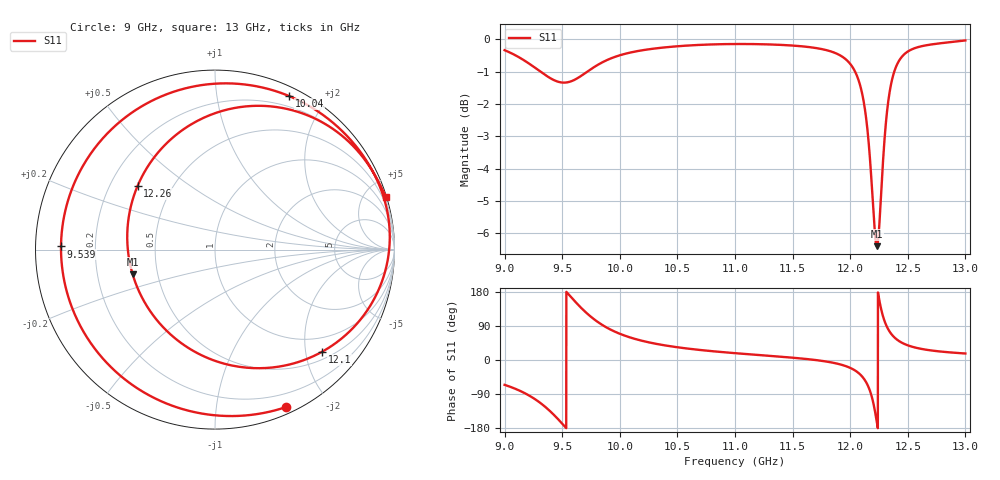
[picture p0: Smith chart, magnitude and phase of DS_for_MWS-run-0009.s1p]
! TOUCHSTONE file generated by CST DESIGN STUDIO
! Date and time: Tue Feb  4 16:20:47 2025
! Project name: C:\Work\MatlabApps\UnitCellOptimizationMatlab\CST\unitcell.cst
! Tree item: Tasks\Sweep1\SPara1\S-Parameters
! Header version: 2024
! Port assignment regex: !\s*Touchstone port\s*([0-9]+)\s*=\s*(CST MWS port|CST DES external port|CST DES block port)\s*(.+)\s* \(\"(.*)\"\)(\s*mode\s*([0-9]+))?.*
! Touchstone port assignment:
! Touchstone port 1 = CST DES external port 1 ("")
# GHz S MA R 50
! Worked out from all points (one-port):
!   4001 points, 9 GHz to 13 GHz, reference 50 ohm
!   lowest |S11| = -6.4 dB at 12.23 GHz (marker M1), VSWR 2.84, Z = 17.9 - j6.38 ohm
!   |S11| at or under -10 dB: nowhere
!   S11 on the Smith chart (normalised r, x): 9 GHz: 0.07, -1.55; 9.539 GHz: 0.08, +0.01; 10.04 GHz: 0.09, +1.59; 12.1 GHz: 0.66, -2.34; 12.26 GHz: 0.32, +0.33; 13 GHz: 0.08, +6.63
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9  0.9625 -65.6
9.173  0.9275 -87.2
9.293  0.8966 -109.5
9.395  0.8716 -135.1
9.5  0.8578 -168.0
9.539  0.8581 178.8
9.627  0.87 149.3
9.747  0.8991 114.7
9.854  0.923 91.4
10  0.9453 69.2
10.043  0.95 64.3
10.24  0.965 47.4
10.5  0.9761 33.6
11  0.984 18.0
11.5  0.9786 6.1
11.809  0.9611 -4.9
12  0.9168 -20.8
12.104  0.8244 -43.7
12.178  0.6307 -87.1
12.204  0.5329 -117.9
12.231  0.479 -163.4
12.264  0.5583 140.6
12.297  0.6969 103.8
12.334  0.811 79.0
12.404  0.9126 54.3
12.5  0.958 38.7
12.672  0.9804 26.5
13  0.9965 17.2
